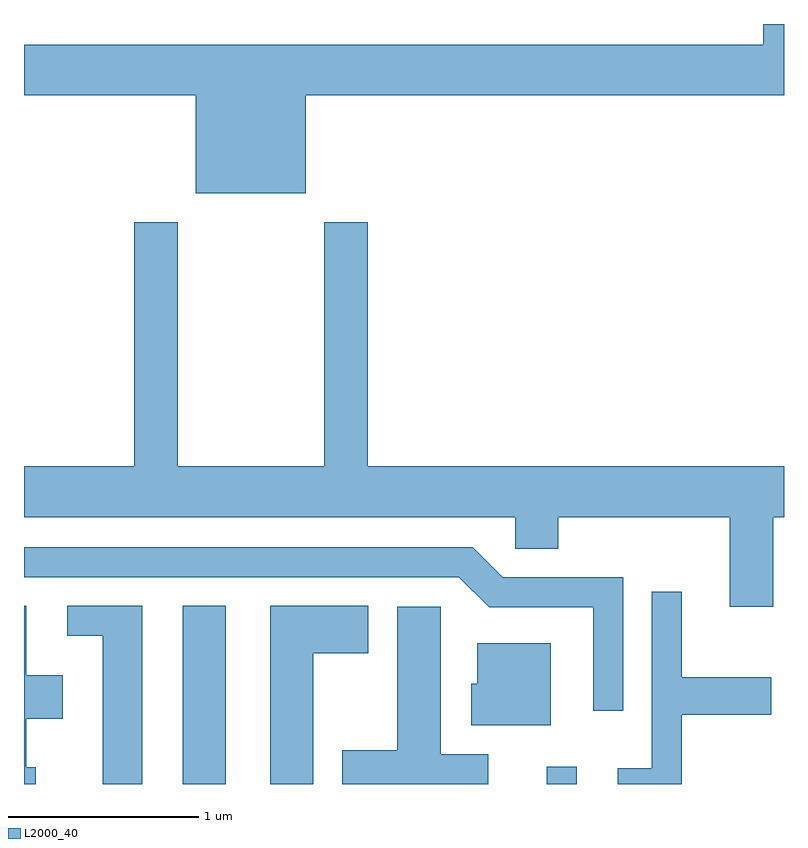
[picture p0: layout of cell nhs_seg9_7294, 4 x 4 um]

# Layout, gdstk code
import gdstk
lib = gdstk.Library(unit=1e-6, precision=1e-09)
def R(c, l, rs):  # rectangles x0, y0, x1, y1
    for r in rs: c.add(gdstk.rectangle(r[:2], r[2:], *l))
def P(c, l, *ps):  # polygons
    for p in ps: c.add(gdstk.Polygon(p, *l))
L2000_40 = (2000, 40)

nhs_seg9_7294 = lib.new_cell('nhs_seg9_7294')
R(nhs_seg9_7294, L2000_40, [(402.446,1970.432,402.674,1971.369), (404.361,1970.432,404.519,1970.523)])
P(nhs_seg9_7294, L2000_40, [(403.094,1974.056),(405.611,1974.056),(405.611,1974.432),(405.501,1974.432),(405.501,1974.324),(401.611,1974.324),(401.611,1974.056),(402.516,1974.056),(402.516,1973.541),(403.094,1973.541)],
  [(405.554,1971.836),(405.611,1971.836),(405.611,1972.104),(403.419,1972.104),(403.419,1973.389),(403.191,1973.389),(403.191,1972.104),(402.419,1972.104),(402.419,1973.389),(402.191,1973.389),(402.191,1972.104),(401.611,1972.104),(401.611,1971.836),(404.196,1971.836),(404.196,1971.671),(404.424,1971.671),(404.424,1971.836),(405.326,1971.836),(405.326,1971.366),(405.554,1971.366)],
  [(404.764,1971.519),(404.132,1971.519),(403.972,1971.679),(401.611,1971.679),(401.611,1971.521),(403.899,1971.521),(404.059,1971.361),(404.606,1971.361),(404.606,1970.818),(404.764,1970.818)],
  [(405.074,1970.796),(405.544,1970.796),(405.544,1970.994),(405.074,1970.994),(405.074,1971.443),(404.916,1971.443),(404.916,1970.514),(404.736,1970.514),(404.736,1970.432),(405.074,1970.432)],
  [(402.234,1971.369),(401.838,1971.369),(401.838,1971.211),(402.026,1971.211),(402.026,1970.432),(402.234,1970.432)],
  [(401.673,1970.519),(401.624,1970.519),(401.624,1970.776),(401.814,1970.776),(401.814,1971.004),(401.624,1971.004),(401.624,1971.369),(401.611,1971.369),(401.611,1970.432),(401.673,1970.432)],
  [(403.134,1971.121),(403.424,1971.121),(403.424,1971.369),(402.906,1971.369),(402.906,1970.432),(403.134,1970.432)],
  [(404.054,1970.589),(403.804,1970.589),(403.804,1971.364),(403.576,1971.364),(403.576,1970.609),(403.286,1970.609),(403.286,1970.432),(404.054,1970.432)],
  [(404.384,1971.174),(403.996,1971.174),(403.996,1970.959),(403.966,1970.959),(403.966,1970.741),(404.384,1970.741)])

lib.write_gds('nhs_seg9_7294.gds')
